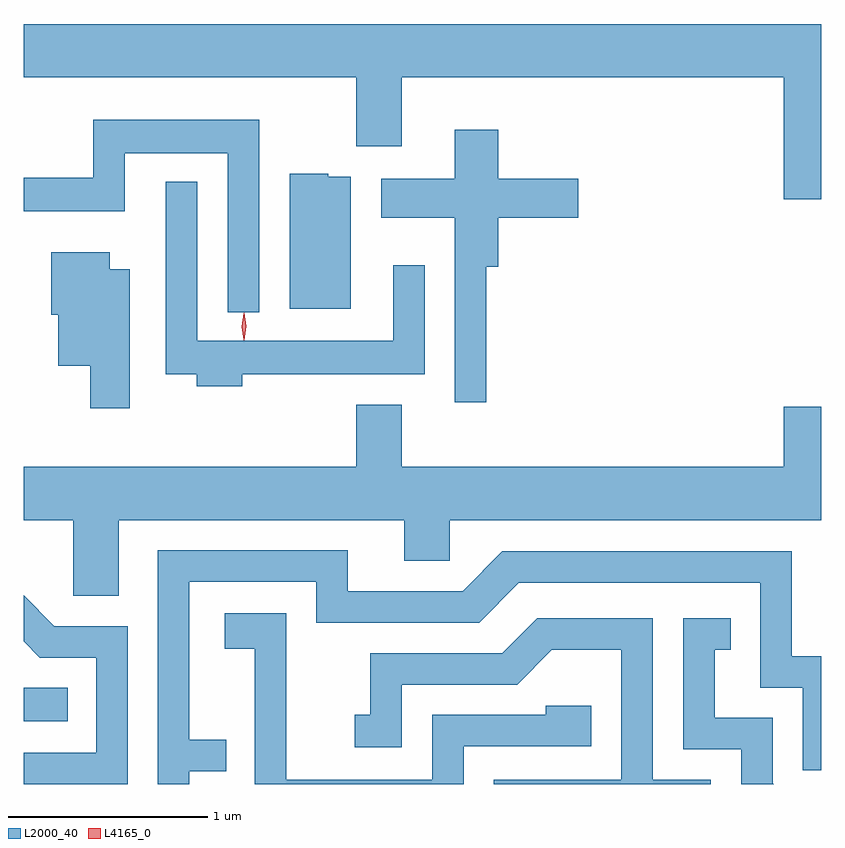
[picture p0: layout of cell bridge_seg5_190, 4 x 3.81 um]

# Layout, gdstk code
import gdstk
lib = gdstk.Library(unit=1e-6, precision=1e-09)
def R(c, l, rs):  # rectangles x0, y0, x1, y1
    for r in rs: c.add(gdstk.rectangle(r[:2], r[2:], *l))
def P(c, l, *ps):  # polygons
    for p in ps: c.add(gdstk.Polygon(p, *l))
L2000_40 = (2000, 40)
L4165_0 = (4165, 0)

bridge_seg5_190 = lib.new_cell('bridge_seg5_190')
R(bridge_seg5_190, L2000_40, [(1290.183,1422.486,1290.403,1422.654)])
P(bridge_seg5_190, L2000_40, [(1294.183,1425.984),(1290.183,1425.984),(1290.183,1425.716),(1291.851,1425.716),(1291.851,1425.371),(1292.079,1425.371),(1292.079,1425.716),(1293.996,1425.716),(1293.996,1425.106),(1294.183,1425.106)],
  [(1291.364,1425.504),(1290.531,1425.504),(1290.531,1425.214),(1290.183,1425.214),(1290.183,1425.046),(1290.689,1425.046),(1290.689,1425.336),(1291.206,1425.336),(1291.206,1424.538),(1291.364,1424.538)],
  [(1292.504,1424.766),(1292.564,1424.766),(1292.564,1425.011),(1292.964,1425.011),(1292.964,1425.209),(1292.564,1425.209),(1292.564,1425.454),(1292.346,1425.454),(1292.346,1425.209),(1291.976,1425.209),(1291.976,1425.011),(1292.346,1425.011),(1292.346,1424.088),(1292.504,1424.088)],
  [(1291.824,1425.219),(1291.71,1425.219),(1291.71,1425.234),(1291.516,1425.234),(1291.516,1424.556),(1291.824,1424.556)],
  [(1291.279,1424.226),(1292.194,1424.226),(1292.194,1424.773),(1292.036,1424.773),(1292.036,1424.394),(1291.054,1424.394),(1291.054,1425.193),(1290.896,1425.193),(1290.896,1424.226),(1291.051,1424.226),(1291.051,1424.166),(1291.279,1424.166)],
  [(1290.714,1424.754),(1290.614,1424.754),(1290.614,1424.839),(1290.321,1424.839),(1290.321,1424.526),(1290.356,1424.526),(1290.356,1424.271),(1290.516,1424.271),(1290.516,1424.056),(1290.714,1424.056)],
  [(1290.659,1423.496),(1292.091,1423.496),(1292.091,1423.291),(1292.319,1423.291),(1292.319,1423.496),(1294.183,1423.496),(1294.183,1424.064),(1293.996,1424.064),(1293.996,1423.764),(1292.079,1423.764),(1292.079,1424.074),(1291.851,1424.074),(1291.851,1423.764),(1290.183,1423.764),(1290.183,1423.496),(1290.431,1423.496),(1290.431,1423.116),(1290.659,1423.116)],
  [(1291.014,1422.236),(1291.198,1422.236),(1291.198,1422.394),(1291.014,1422.394),(1291.014,1423.186),(1291.651,1423.186),(1291.651,1422.981),(1292.467,1422.981),(1292.667,1423.181),(1293.876,1423.181),(1293.876,1422.656),(1294.091,1422.656),(1294.091,1422.241),(1294.183,1422.241),(1294.183,1422.814),(1294.034,1422.814),(1294.034,1423.339),(1292.584,1423.339),(1292.384,1423.139),(1291.809,1423.139),(1291.809,1423.344),(1290.856,1423.344),(1290.856,1422.172),(1291.014,1422.172)],
  [(1290.704,1422.964),(1290.337,1422.964),(1290.183,1423.118),(1290.183,1422.887),(1290.264,1422.806),(1290.546,1422.806),(1290.546,1422.329),(1290.183,1422.329),(1290.183,1422.172),(1290.704,1422.172)],
  [(1292.389,1422.361),(1293.029,1422.361),(1293.029,1422.564),(1292.801,1422.564),(1292.801,1422.519),(1292.231,1422.519),(1292.231,1422.194),(1291.499,1422.194),(1291.499,1423.029),(1291.191,1423.029),(1291.191,1422.851),(1291.341,1422.851),(1291.341,1422.172),(1292.389,1422.172)],
  [(1293.939,1422.177),(1293.939,1422.504),(1293.649,1422.504),(1293.649,1422.846),(1293.728,1422.846),(1293.728,1423.004),(1293.491,1423.004),(1293.491,1422.346),(1293.781,1422.346),(1293.781,1422.172),(1293.944,1422.172)],
  [(1293.629,1422.194),(1293.339,1422.194),(1293.339,1423.004),(1292.759,1423.004),(1292.584,1422.829),(1291.921,1422.829),(1291.921,1422.519),(1291.843,1422.519),(1291.843,1422.356),(1292.079,1422.356),(1292.079,1422.671),(1292.657,1422.671),(1292.832,1422.846),(1293.181,1422.846),(1293.181,1422.194),(1292.541,1422.194),(1292.541,1422.172),(1293.629,1422.172)])
P(bridge_seg5_190, L4165_0, [(1291.287,1424.399),(1291.286,1424.4),(1291.277,1424.466),(1291.286,1424.533),(1291.287,1424.533),(1291.288,1424.533),(1291.297,1424.466),(1291.288,1424.4)],
  [(1291.289,1424.397),(1291.289,1424.398),(1291.279,1424.467),(1291.288,1424.536),(1291.289,1424.536),(1291.29,1424.536),(1291.299,1424.467),(1291.29,1424.398)])

lib.write_gds('bridge_seg5_190.gds')
